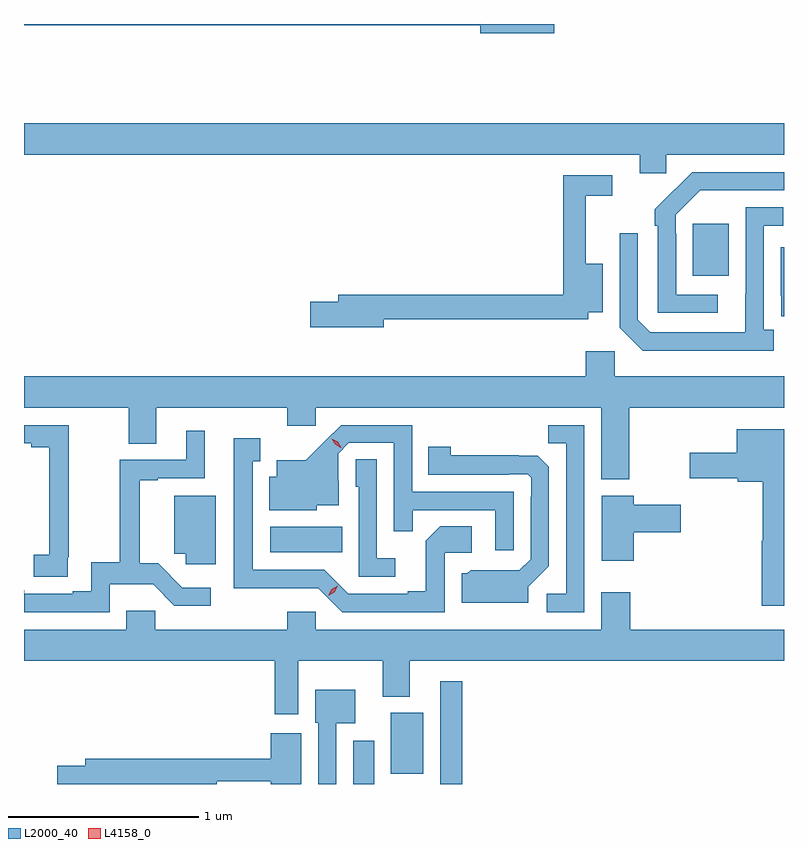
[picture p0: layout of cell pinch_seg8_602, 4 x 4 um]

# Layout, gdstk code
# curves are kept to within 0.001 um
import gdstk
lib = gdstk.Library(unit=1e-6, precision=1e-09)
def R(c, l, rs):  # rectangles x0, y0, x1, y1
    for r in rs: c.add(gdstk.rectangle(r[:2], r[2:], *l))
def P(c, l, *ps):  # polygons
    for p in ps: c.add(gdstk.Polygon(p, *l))
L2000_40 = (2000, 40)
L4158_0 = (4158, 0)

pinch_seg8_602 = lib.new_cell('pinch_seg8_602')
R(pinch_seg8_602, L2000_40, [(204.191,1082.551,204.301,1082.779), (204.648,1082.551,204.764,1083.091), (204.389,1082.606,204.559,1082.926), (203.754,1083.77,204.134,1083.904), (205.979,1085.225,206.167,1085.5)])
P(pinch_seg8_602, L2000_40, [(205.249,1086.551),(202.458,1086.551),(202.458,1086.544),(204.86,1086.544),(204.86,1086.502),(205.249,1086.502)],
  [(205.839,1085.864),(206.458,1085.864),(206.458,1086.028),(202.458,1086.028),(202.458,1085.864),(205.7,1085.864),(205.7,1085.766),(205.839,1085.766)],
  [(206.11,1085.127),(205.89,1085.127),(205.89,1085.447),(205.887,1085.447),(205.887,1085.547),(206.016,1085.676),(206.458,1085.676),(206.458,1085.772),(205.976,1085.772),(205.779,1085.577),(205.779,1085.489),(205.794,1085.489),(205.794,1085.031),(206.11,1085.031)],
  [(204.352,1084.998),(205.428,1084.998),(205.428,1085.033),(205.504,1085.033),(205.504,1085.29),(205.415,1085.29),(205.415,1085.646),(205.555,1085.646),(205.555,1085.754),(205.297,1085.754),(205.297,1085.126),(204.113,1085.126),(204.113,1085.09),(203.964,1085.09),(203.964,1084.955),(204.352,1084.955)],
  [(206.404,1084.942),(206.352,1084.942),(206.352,1085.49),(206.455,1085.49),(206.455,1085.586),(206.256,1085.586),(206.255,1084.929),(205.755,1084.929),(205.689,1084.995),(205.689,1085.449),(205.593,1085.449),(205.593,1084.953),(205.714,1084.832),(206.404,1084.832)],
  [(206.458,1085.377),(206.442,1085.377),(206.442,1085.122),(206.443,1085.122),(206.443,1085.013),(206.458,1085.013)],
  [(205.644,1084.532),(206.458,1084.532),(206.458,1084.696),(205.566,1084.696),(205.566,1084.828),(205.415,1084.828),(205.415,1084.696),(202.458,1084.696),(202.458,1084.532),(203.008,1084.532),(203.008,1084.342),(203.155,1084.342),(203.155,1084.532),(203.843,1084.532),(203.843,1084.437),(203.994,1084.437),(203.994,1084.532),(205.496,1084.532),(205.496,1084.154),(205.644,1084.154)],
  [(202.688,1083.745),(202.694,1083.745),(202.694,1084.44),(202.458,1084.44),(202.458,1084.344),(202.496,1084.344),(202.496,1084.324),(202.592,1084.324),(202.592,1084.041),(202.591,1084.041),(202.591,1083.758),(202.509,1083.758),(202.509,1083.643),(202.688,1083.643)],
  [(205.035,1084.089),(204.501,1084.089),(204.501,1084.44),(204.128,1084.44),(203.941,1084.255),(203.789,1084.255),(203.789,1084.168),(203.75,1084.168),(203.75,1083.992),(204,1083.992),(204,1084.019),(204.115,1084.019),(204.115,1084.148),(204.111,1084.148),(204.111,1084.29),(204.168,1084.347),(204.405,1084.347),(204.405,1083.88),(204.503,1083.88),(204.503,1083.993),(204.939,1083.993),(204.939,1083.78),(205.035,1083.78)],
  [(205.407,1084.44),(205.216,1084.44),(205.216,1084.345),(205.311,1084.345),(205.311,1083.552),(205.209,1083.552),(205.209,1083.456),(205.407,1083.456)],
  [(206.458,1084.417),(206.21,1084.417),(206.21,1084.294),(205.962,1084.294),(205.962,1084.16),(206.214,1084.16),(206.214,1084.142),(206.347,1084.142),(206.347,1083.83),(206.34,1083.83),(206.34,1083.489),(206.458,1083.489)],
  [(202.908,1083.602),(203.137,1083.602),(203.25,1083.489),(203.44,1083.489),(203.44,1083.585),(203.292,1083.585),(203.165,1083.712),(203.066,1083.712),(203.066,1084.149),(203.161,1084.149),(203.161,1084.161),(203.41,1084.161),(203.41,1084.411),(203.312,1084.411),(203.312,1084.257),(202.963,1084.257),(202.963,1083.719),(202.812,1083.719),(202.812,1083.566),(202.715,1083.566),(202.715,1083.552),(202.459,1083.552),(202.458,1083.572),(202.458,1083.456),(202.908,1083.456)],
  [(204.672,1083.768),(204.814,1083.768),(204.814,1083.908),(204.649,1083.908),(204.573,1083.832),(204.573,1083.565),(204.479,1083.565),(204.479,1083.552),(204.165,1083.552),(204.039,1083.678),(203.662,1083.678),(203.662,1084.251),(203.701,1084.251),(203.701,1084.372),(203.561,1084.372),(203.561,1083.581),(204.006,1083.582),(204.132,1083.456),(204.672,1083.456)],
  [(205.111,1083.588),(205.221,1083.698),(205.221,1084.22),(205.162,1084.279),(204.705,1084.28),(204.705,1084.327),(204.586,1084.327),(204.586,1084.179),(205.01,1084.179),(205.01,1084.182),(205.11,1084.182),(205.128,1084.164),(205.128,1084.064),(205.125,1084.064),(205.125,1083.735),(205.065,1083.675),(204.808,1083.676),(204.792,1083.66),(204.761,1083.66),(204.761,1083.506),(205.111,1083.506)],
  [(204.412,1083.739),(204.315,1083.739),(204.315,1084.259),(204.204,1084.259),(204.204,1084.116),(204.219,1084.116),(204.219,1083.642),(204.412,1083.642)],
  [(205.666,1083.875),(205.915,1083.875),(205.915,1084.022),(205.666,1084.022),(205.666,1084.069),(205.499,1084.069),(205.499,1083.726),(205.666,1083.726)],
  [(203.467,1084.069),(203.249,1084.069),(203.249,1083.764),(203.31,1083.764),(203.31,1083.708),(203.467,1083.708)],
  [(203.902,1083.2),(204.347,1083.2),(204.347,1083.011),(204.487,1083.011),(204.487,1083.2),(206.458,1083.2),(206.458,1083.364),(205.649,1083.364),(205.649,1083.559),(205.496,1083.559),(205.496,1083.364),(203.994,1083.364),(203.994,1083.457),(203.843,1083.457),(203.843,1083.364),(203.149,1083.364),(203.149,1083.462),(202.997,1083.462),(202.997,1083.364),(202.458,1083.364),(202.458,1083.2),(203.777,1083.2),(203.777,1082.919),(203.902,1082.919)],
  [(204.102,1082.87),(204.202,1082.87),(204.202,1083.046),(203.99,1083.046),(203.99,1082.874),(204.006,1082.874),(204.006,1082.551),(204.102,1082.551)],
  [(203.472,1082.566),(203.756,1082.566),(203.756,1082.551),(203.917,1082.551),(203.917,1082.818),(203.756,1082.818),(203.756,1082.684),(202.781,1082.684),(202.781,1082.648),(202.632,1082.648),(202.632,1082.551),(203.472,1082.551)])
P(pinch_seg8_602, L4158_0, [(204.126,1084.322),(204.096,1084.338),(204.079,1084.368),(204.079,1084.368),(204.079,1084.368),(204.11,1084.352),(204.127,1084.322),(204.127,1084.322)],
  [(204.06,1083.542),(204.06,1083.542),(204.078,1083.575),(204.109,1083.594),(204.11,1083.594),(204.11,1083.594),(204.092,1083.561),(204.06,1083.542)])

lib.write_gds('pinch_seg8_602.gds')
